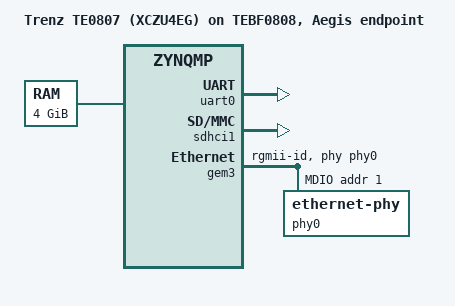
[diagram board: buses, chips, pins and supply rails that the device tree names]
// SPDX-License-Identifier: GPL-2.0+
/*
 * Trenz TE0807 (XCZU4EG, 4 GiB DDR4) on a TEBF0808 carrier, as the Aegis endpoint uses it: UART0 (the TE0790 on
 * J12), the SD card on SD1, GEM3 with the Marvell 88E1510 at MDIO address 1. Written from the device tree the board
 * came with. The module's eMMC (SD0) and the QSPI flash are left disabled, so neither U-Boot nor Linux can write
 * them; U-Boot keeps no environment (ENV_IS_NOWHERE).
 */
/dts-v1/;

#include "zynqmp.dtsi"
#include "zynqmp-clk-ccf.dtsi"

/ {
	model = "Trenz TE0807 (XCZU4EG) on TEBF0808, Aegis endpoint";
	compatible = "trenz,te0807-aegis", "xlnx,zynqmp";

	aliases {
		ethernet0 = &gem3;
		mmc0 = &sdhci1;
		serial0 = &uart0;
	};

	chosen {
		bootargs = "earlycon";
		stdout-path = "serial0:115200n8";
	};

	memory@0 {
		device_type = "memory";
		reg = <0x0 0x0 0x0 0x7ff00000>, <0x8 0x00000000 0x0 0x80000000>;
	};

	/* OP-TEE (docs/zynqmp-key-design.md): its secure memory and its static shared memory, kept away from U-Boot and
	 * Linux. The ZynqMP has no TZASC: until the XMPU guards this range (phase C), only this keeps them out. */
	reserved-memory {
		#address-cells = <2>;
		#size-cells = <2>;
		ranges;

		/* TF-A's BL31 (EL3). Built with SPD=opteed and no ZYNQMP_ATF_MEM_BASE, TF-A places it in DDR at
		 * BL31_BASE 0x1000 with BL31_LIMIT 0x80000 (plat/xilinx/zynqmp/include/platform_def.h), not in OCM, and
		 * this TF-A build does not add its own "tf-a" node. Without this node Linux takes 0x0-0x80000 as System
		 * RAM and its page allocator can hand out BL31's pages. The whole range to BL31_LIMIT is reserved, so the
		 * node stays right if BL31 grows; it costs 512 KiB. */
		tf-a@0 {
			reg = <0x0 0x0 0x0 0x80000>;
			no-map;
		};

		optee_core@60000000 {
			reg = <0x0 0x60000000 0x0 0x10000000>;
			no-map;
		};

		optee_shm@70000000 {
			reg = <0x0 0x70000000 0x0 0x10000000>;
			no-map;
		};
	};
};

&uart0 {
	status = "okay";
	bootph-all;
};

&sdhci1 {
	status = "okay";
	no-1-8-v;
	disable-wp;
	xlnx,mio-bank = <1>;
	bootph-all;
};

&gem3 {
	status = "okay";
	phy-mode = "rgmii-id";
	/* the address the board had with its original image (U-Boot keeps no environment, so it comes from here) */
	local-mac-address = [00 0a 35 00 22 01];
	phy-handle = <&phy0>;
	mdio {
		#address-cells = <1>;
		#size-cells = <0>;
		phy0: ethernet-phy@1 {
			reg = <1>;
		};
	};
};
